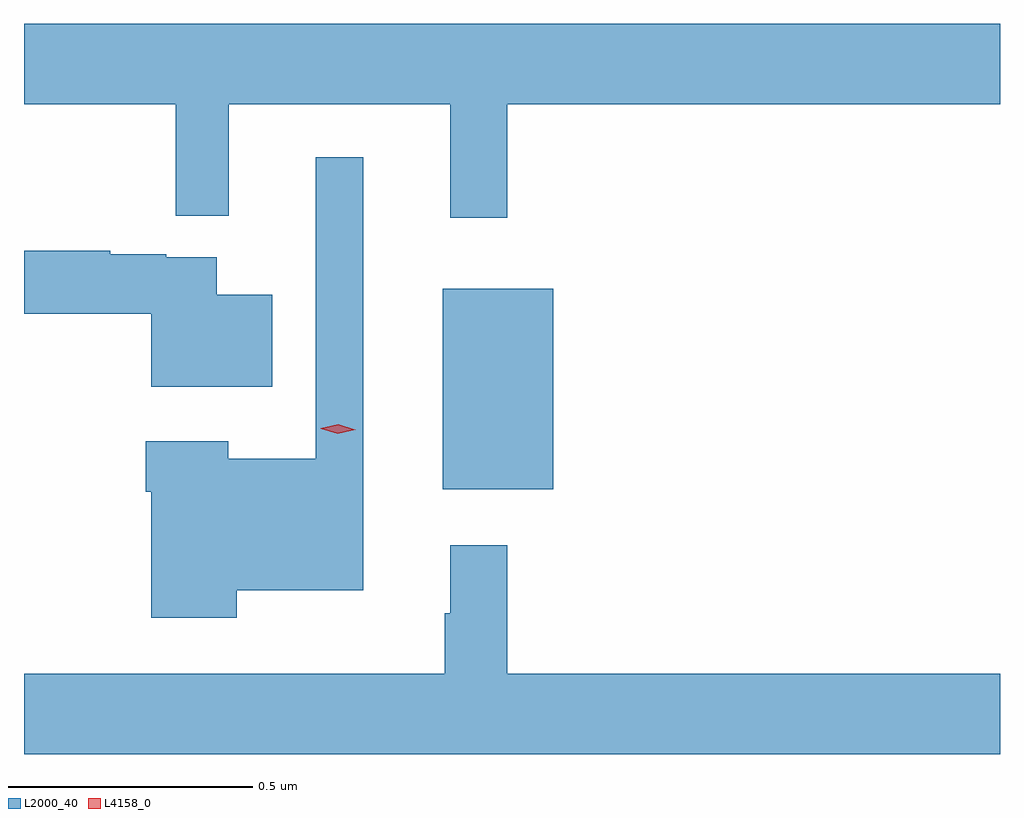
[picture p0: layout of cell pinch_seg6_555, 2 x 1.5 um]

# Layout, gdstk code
import gdstk
lib = gdstk.Library(unit=1e-6, precision=1e-09)
def R(c, l, rs):  # rectangles x0, y0, x1, y1
    for r in rs: c.add(gdstk.rectangle(r[:2], r[2:], *l))
def P(c, l, *ps):  # polygons
    for p in ps: c.add(gdstk.Polygon(p, *l))
L2000_40 = (2000, 40)
L4158_0 = (4158, 0)

pinch_seg6_555 = lib.new_cell('pinch_seg6_555')
R(pinch_seg6_555, L2000_40, [(780.659,946.547,780.886,946.957)])
P(pinch_seg6_555, L2000_40, [(780.791,947.336),(781.801,947.336),(781.801,947.5),(779.801,947.5),(779.801,947.336),(780.112,947.336),(780.112,947.107),(780.221,947.107),(780.221,947.336),(780.674,947.336),(780.674,947.103),(780.791,947.103)],
  [(780.237,946.34),(780.496,946.34),(780.496,947.227),(780.399,947.227),(780.399,946.609),(780.22,946.609),(780.22,946.645),(780.05,946.645),(780.05,946.541),(780.062,946.541),(780.062,946.283),(780.237,946.283)],
  [(780.31,946.945),(780.196,946.945),(780.196,947.022),(780.092,947.022),(780.092,947.028),(779.978,947.028),(779.978,947.035),(779.801,947.035),(779.801,946.906),(780.062,946.906),(780.062,946.757),(780.31,946.757)],
  [(781.801,946.168),(780.791,946.168),(780.791,946.432),(780.674,946.432),(780.674,946.292),(780.663,946.292),(780.663,946.168),(779.801,946.168),(779.801,946.004),(781.801,946.004)])
P(pinch_seg6_555, L4158_0, [(780.444,946.66),(780.409,946.671),(780.409,946.672),(780.409,946.672),(780.445,946.68),(780.48,946.669),(780.481,946.668),(780.48,946.668)])

lib.write_gds('pinch_seg6_555.gds')
